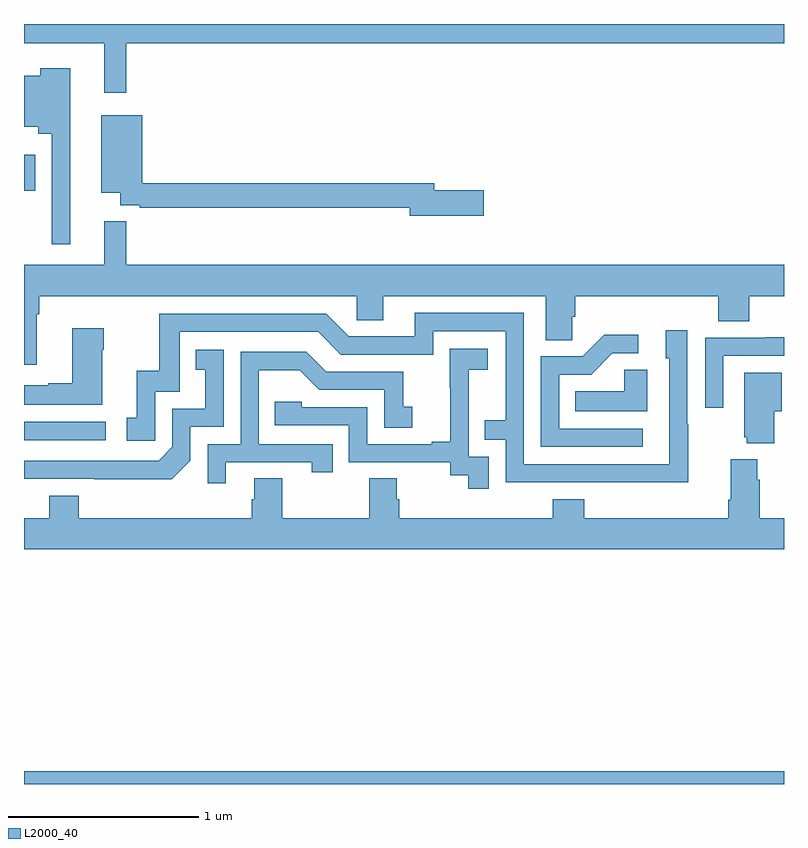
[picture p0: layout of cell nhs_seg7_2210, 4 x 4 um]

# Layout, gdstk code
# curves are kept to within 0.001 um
import gdstk
lib = gdstk.Library(unit=1e-6, precision=1e-09)
def R(c, l, rs):  # rectangles x0, y0, x1, y1
    for r in rs: c.add(gdstk.rectangle(r[:2], r[2:], *l))
def P(c, l, *ps):  # polygons
    for p in ps: c.add(gdstk.Polygon(p, *l))
L2000_40 = (2000, 40)

nhs_seg7_2210 = lib.new_cell('nhs_seg7_2210')
R(nhs_seg7_2210, L2000_40, [(255,1046,259,1046.068), (255,1047.81,255.43,1047.906), (255,1049.123,255.058,1049.311)])
P(nhs_seg7_2210, L2000_40, [(255.539,1049.9),(259,1049.9),(259,1050),(255,1050),(255,1049.9),(255.422,1049.9),(255.422,1049.637),(255.539,1049.637)],
  [(255.244,1049.767),(255.086,1049.767),(255.086,1049.728),(255,1049.728),(255,1049.459),(255.074,1049.459),(255.074,1049.423),(255.147,1049.423),(255.147,1048.842),(255.244,1048.842)],
  [(257.419,1049.126),(257.158,1049.126),(257.158,1049.162),(255.622,1049.162),(255.622,1049.521),(255.407,1049.521),(255.407,1049.111),(255.506,1049.111),(255.506,1049.046),(255.61,1049.046),(255.61,1049.034),(257.03,1049.034),(257.03,1048.991),(257.419,1048.991)],
  [(255.067,1048.472),(255.08,1048.472),(255.08,1048.568),(256.752,1048.568),(256.752,1048.441),(256.891,1048.441),(256.891,1048.568),(257.747,1048.568),(257.747,1048.336),(257.886,1048.336),(257.886,1048.459),(257.9,1048.459),(257.9,1048.568),(258.653,1048.568),(258.653,1048.435),(258.818,1048.435),(258.818,1048.568),(259,1048.568),(259,1048.732),(255.539,1048.732),(255.539,1048.961),(255.422,1048.961),(255.422,1048.732),(255,1048.732),(255,1048.206),(255.067,1048.206)],
  [(258.495,1047.893),(258.492,1047.893),(258.492,1048.387),(258.377,1048.387),(258.377,1048.242),(258.396,1048.242),(258.396,1047.684),(257.631,1047.684),(257.631,1048.479),(257.057,1048.479),(257.057,1048.356),(256.71,1048.356),(256.59,1048.476),(255.711,1048.476),(255.711,1048.174),(255.593,1048.174),(255.593,1047.927),(255.54,1047.927),(255.54,1047.807),(255.69,1047.807),(255.69,1048.065),(255.819,1048.065),(255.819,1048.38),(256.548,1048.38),(256.668,1048.26),(257.154,1048.26),(257.154,1048.383),(257.535,1048.383),(257.535,1047.914),(257.425,1047.914),(257.425,1047.813),(257.535,1047.813),(257.535,1047.588),(258.495,1047.587)],
  [(255.412,1048.286),(255.42,1048.286),(255.42,1048.399),(255.254,1048.399),(255.254,1048.109),(255.128,1048.109),(255.128,1048.099),(255,1048.099),(255,1047.995),(255.412,1047.995)],
  [(258.256,1047.87),(257.817,1047.87),(257.817,1048.155),(257.986,1048.155),(258.097,1048.266),(258.232,1048.266),(258.232,1048.364),(258.053,1048.364),(257.94,1048.251),(257.721,1048.251),(257.721,1047.774),(258.256,1047.774)],
  [(258.681,1048.254),(259,1048.254),(259,1048.352),(258.901,1048.352),(258.901,1048.35),(258.585,1048.35),(258.585,1047.981),(258.681,1047.981)],
  [(257.445,1047.723),(257.34,1047.723),(257.34,1047.953),(257.342,1047.953),(257.342,1048.181),(257.44,1048.181),(257.44,1048.291),(257.242,1048.291),(257.242,1048.085),(257.243,1048.085),(257.243,1047.802),(257.147,1047.802),(257.147,1047.789),(256.806,1047.789),(256.806,1047.984),(256.461,1047.984),(256.461,1048.011),(256.321,1048.011),(256.321,1047.888),(256.71,1047.888),(256.71,1047.693),(257.244,1047.693),(257.244,1047.625),(257.337,1047.625),(257.337,1047.555),(257.445,1047.555)],
  [(255.876,1047.702),(255.876,1047.879),(256.05,1047.879),(256.05,1048.285),(255.904,1048.285),(255.904,1048.179),(255.953,1048.179),(255.953,1047.975),(255.78,1047.975),(255.78,1047.774),(255.708,1047.702),(255,1047.702),(255,1047.606),(255.778,1047.605)],
  [(256.063,1047.693),(256.514,1047.693),(256.514,1047.642),(256.625,1047.642),(256.625,1047.789),(256.236,1047.789),(256.236,1048.178),(256.45,1048.178),(256.554,1048.074),(256.896,1048.074),(256.896,1047.876),(257.044,1047.876),(257.044,1047.985),(256.995,1047.985),(256.995,1048.17),(256.591,1048.17),(256.486,1048.275),(256.14,1048.275),(256.14,1047.789),(255.966,1047.789),(255.966,1047.582),(256.063,1047.582)],
  [(258.28,1048.181),(258.159,1048.181),(258.159,1048.066),(257.902,1048.066),(257.902,1047.962),(258.28,1047.962)],
  [(258.949,1047.962),(258.988,1047.962),(258.988,1048.165),(258.791,1048.165),(258.791,1047.825),(258.803,1047.825),(258.803,1047.794),(258.949,1047.794)],
  [(259,1047.4),(258.872,1047.4),(258.872,1047.602),(258.859,1047.602),(258.859,1047.709),(258.719,1047.709),(258.719,1047.496),(258.707,1047.496),(258.707,1047.4),(257.948,1047.4),(257.948,1047.499),(257.783,1047.499),(257.783,1047.4),(256.976,1047.4),(256.976,1047.498),(256.963,1047.498),(256.963,1047.608),(256.816,1047.608),(256.816,1047.4),(256.359,1047.4),(256.359,1047.608),(256.211,1047.608),(256.211,1047.498),(256.199,1047.498),(256.199,1047.4),(255.287,1047.4),(255.287,1047.517),(255.134,1047.517),(255.134,1047.4),(255,1047.4),(255,1047.236),(259,1047.236)])

lib.write_gds('nhs_seg7_2210.gds')
